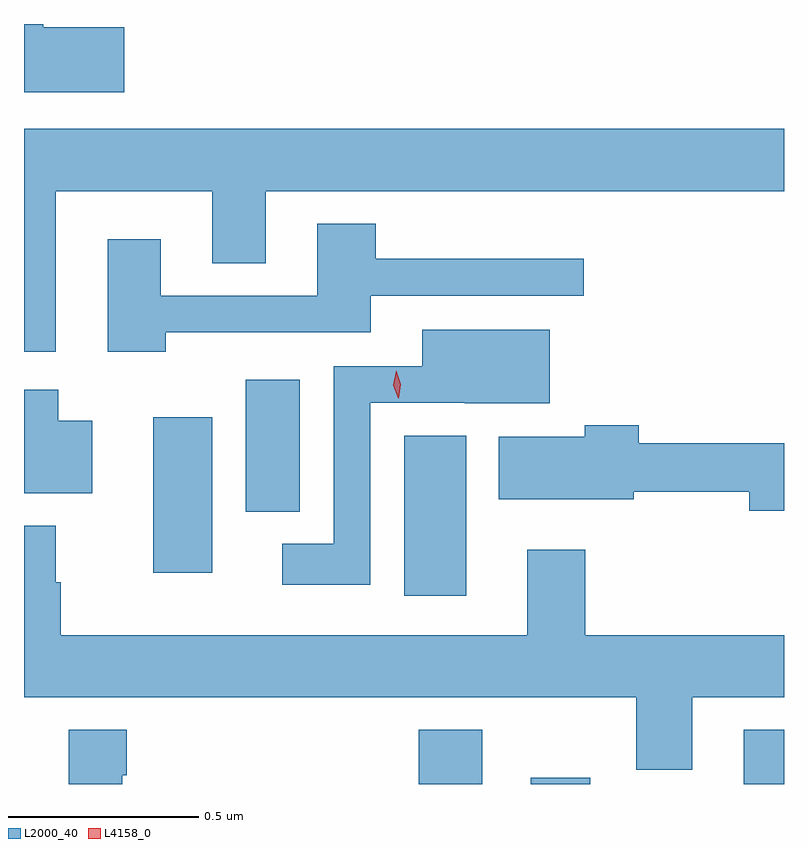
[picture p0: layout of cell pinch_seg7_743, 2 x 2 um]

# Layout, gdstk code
import gdstk
lib = gdstk.Library(unit=1e-6, precision=1e-09)
def R(c, l, rs):  # rectangles x0, y0, x1, y1
    for r in rs: c.add(gdstk.rectangle(r[:2], r[2:], *l))
def P(c, l, *ps):  # polygons
    for p in ps: c.add(gdstk.Polygon(p, *l))
L2000_40 = (2000, 40)
L4158_0 = (4158, 0)

pinch_seg7_743 = lib.new_cell('pinch_seg7_743')
R(pinch_seg7_743, L2000_40, [(336.968,1029.692,337.135,1029.835), (337.263,1029.692,337.419,1029.709), (337.823,1029.692,337.929,1029.835), (336.929,1030.188,337.093,1030.609), (336.269,1030.248,336.424,1030.657), (336.512,1030.409,336.655,1030.756)])
P(pinch_seg7_743, L2000_40, [(336.193,1031.684),(335.98,1031.684),(335.98,1031.692),(335.929,1031.692),(335.929,1031.513),(336.193,1031.513)],
  [(336.013,1031.252),(336.425,1031.252),(336.425,1031.062),(336.565,1031.062),(336.565,1031.252),(337.929,1031.252),(337.929,1031.416),(335.929,1031.416),(335.929,1030.83),(336.013,1030.83)],
  [(336.302,1030.881),(336.841,1030.881),(336.841,1030.977),(337.402,1030.977),(337.402,1031.074),(336.854,1031.074),(336.854,1031.167),(336.701,1031.167),(336.701,1030.977),(336.289,1030.977),(336.289,1031.125),(336.149,1031.125),(336.149,1030.83),(336.302,1030.83)],
  [(336.84,1030.695),(337.089,1030.695),(337.089,1030.694),(337.312,1030.694),(337.312,1030.888),(336.977,1030.888),(336.977,1030.791),(336.744,1030.791),(336.744,1030.324),(336.609,1030.324),(336.609,1030.217),(336.84,1030.217)],
  [(336.109,1030.648),(336.019,1030.648),(336.019,1030.729),(335.929,1030.729),(335.929,1030.457),(336.109,1030.457)],
  [(337.929,1030.589),(337.547,1030.589),(337.547,1030.636),(337.405,1030.636),(337.405,1030.606),(337.178,1030.606),(337.178,1030.442),(337.534,1030.442),(337.534,1030.461),(337.838,1030.461),(337.838,1030.411),(337.929,1030.411)],
  [(337.687,1029.92),(337.929,1029.92),(337.929,1030.084),(337.406,1030.084),(337.406,1030.309),(337.253,1030.309),(337.253,1030.084),(336.026,1030.084),(336.026,1030.223),(336.013,1030.223),(336.013,1030.372),(335.929,1030.372),(335.929,1029.92),(337.54,1029.92),(337.54,1029.73),(337.687,1029.73)],
  [(336.187,1029.715),(336.2,1029.715),(336.2,1029.835),(336.047,1029.835),(336.047,1029.692),(336.187,1029.692)])
P(pinch_seg7_743, L4158_0, [(336.914,1030.707),(336.914,1030.707),(336.901,1030.742),(336.908,1030.779),(336.908,1030.779),(336.908,1030.779),(336.921,1030.744),(336.915,1030.707)])

lib.write_gds('pinch_seg7_743.gds')
